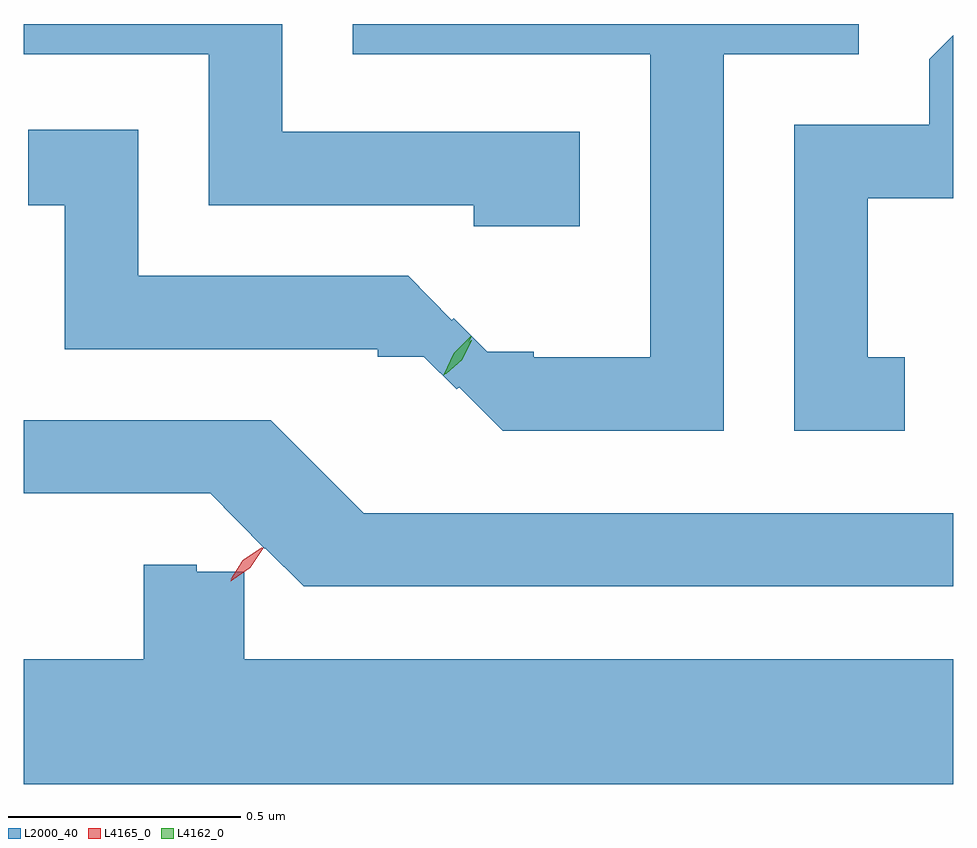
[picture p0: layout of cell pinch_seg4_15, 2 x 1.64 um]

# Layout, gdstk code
import gdstk
lib = gdstk.Library(unit=1e-6, precision=1e-09)
def P(c, l, *ps):  # polygons
    for p in ps: c.add(gdstk.Polygon(p, *l))
L2000_40 = (2000, 40)
L4162_0 = (4162, 0)
L4165_0 = (4165, 0)

pinch_seg4_15 = lib.new_cell('pinch_seg4_15')
P(pinch_seg4_15, L2000_40, [(860.439,1336.266),(860.729,1336.266),(860.729,1336.331),(859.641,1336.331),(859.641,1336.266),(860.281,1336.266),(860.281,1335.614),(860.03,1335.614),(860.03,1335.626),(859.93,1335.626),(859.858,1335.698),(859.854,1335.694),(859.76,1335.789),(859.179,1335.789),(859.179,1336.104),(858.943,1336.104),(858.943,1335.941),(859.021,1335.941),(859.021,1335.631),(859.695,1335.631),(859.695,1335.615),(859.794,1335.615),(859.865,1335.545),(859.87,1335.55),(859.964,1335.456),(860.439,1335.456)],
  [(860.129,1336.099),(859.489,1336.099),(859.489,1336.331),(858.933,1336.331),(858.933,1336.266),(859.331,1336.266),(859.331,1335.941),(859.901,1335.941),(859.901,1335.896),(860.129,1335.896)],
  [(860.828,1335.614),(860.749,1335.614),(860.749,1335.956),(860.933,1335.956),(860.933,1336.307),(860.881,1336.255),(860.881,1336.114),(860.591,1336.114),(860.591,1335.456),(860.828,1335.456)],
  [(860.933,1335.279),(859.665,1335.279),(859.465,1335.479),(858.933,1335.479),(858.933,1335.321),(859.334,1335.321),(859.452,1335.202),(859.453,1335.203),(859.536,1335.121),(860.933,1335.121)],
  [(860.933,1334.964),(859.408,1334.964),(859.408,1335.153),(859.305,1335.153),(859.305,1335.168),(859.191,1335.168),(859.191,1334.964),(858.933,1334.964),(858.933,1334.696),(860.933,1334.696)])
P(pinch_seg4_15, L4162_0, [(859.837,1335.575),(859.837,1335.576),(859.858,1335.623),(859.895,1335.659),(859.896,1335.659),(859.896,1335.658),(859.874,1335.611),(859.837,1335.575)],
  [(859.841,1335.579),(859.841,1335.58),(859.861,1335.621),(859.896,1335.651),(859.897,1335.651),(859.897,1335.651),(859.877,1335.609),(859.842,1335.579)])
P(pinch_seg4_15, L4165_0, [(859.378,1335.132),(859.378,1335.133),(859.406,1335.175),(859.447,1335.204),(859.448,1335.204),(859.448,1335.203),(859.42,1335.161),(859.379,1335.132)],
  [(859.378,1335.136),(859.378,1335.137),(859.404,1335.177),(859.444,1335.204),(859.445,1335.204),(859.445,1335.203),(859.418,1335.163),(859.379,1335.136)])

lib.write_gds('pinch_seg4_15.gds')
